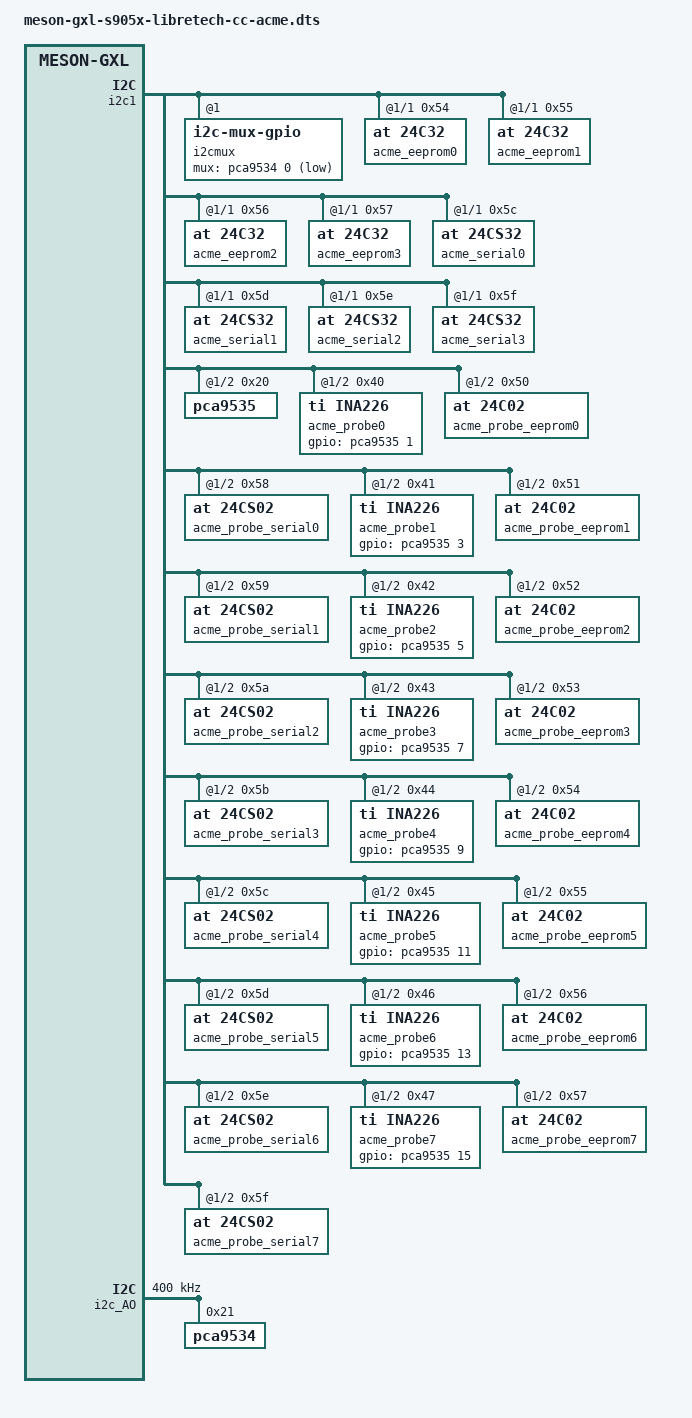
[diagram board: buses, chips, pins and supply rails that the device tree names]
/*
 * Copyright (c) 2017 BayLibre, SAS.
 * Author: Neil Armstrong <narmstrong@baylibre.com>
 *
 * SPDX-License-Identifier: (GPL-2.0+ OR MIT)
 */

/*
 * Overlay aimed to support the ACME cape.
 */

/dts-v1/;
/plugin/;

#include <dt-bindings/gpio/gpio.h>
#include <dt-bindings/gpio/meson-gxl-gpio.h>

/ {
	compatible = "libretech,cc", "amlogic,s905x", "amlogic,meson-gxl";

	fragment@0 {
		target-path = "/aliases";

		__overlay__ {
			i2c1 = "/soc/aobus@c8100000/i2c@500";
		};
	};

	fragment@1 {
		target = <&i2c_AO>;
		
		__overlay__ {
			status = "okay";
			pinctrl-0 = <&i2c_ao_pins>;
			pinctrl-names = "default";
			#address-cells = <1>;
			#size-cells = <0>;

			clock-frequency = <400000>;

			pca9534: pca9534@21 {
				compatible = "pca9534";
				reg = <0x21>;
				#gpio-cells = <2>;
			};
		};
	};

	fragment@2 {
		target-path="/";
	
		__overlay__ {
			i2cmux@1 {
				compatible = "i2c-mux-gpio";
				#address-cells = <1>;
				#size-cells = <0>;
				mux-gpios = <&pca9534 0 GPIO_ACTIVE_LOW>;
				i2c-parent = <&i2c1>;
				idle-state = <1>;
	
				i2c@1 {
					reg = <1>;
					#address-cells = <1>;
					#size-cells = <0>;
	
					acme_eeprom0: acme_eeprom0@54 {
						compatible = "at,24c32";
						reg = <0x54>;
						#address-cells = <1>;
						#size-cells = <1>;
					};
	
					acme_eeprom1: acme_eeprom1@55 {
						compatible = "at,24c32";
						reg = <0x55>;
						#address-cells = <1>;
						#size-cells = <1>;
					};
	
					acme_eeprom2: acme_eeprom2@56 {
						compatible = "at,24c32";
						reg = <0x56>;
						#address-cells = <1>;
						#size-cells = <1>;
					};
	
					acme_eeprom3: acme_eeprom3@57 {
						compatible = "at,24c32";
						reg = <0x57>;
						#address-cells = <1>;
						#size-cells = <1>;
					};
	
					acme_serial0: acme_serial0@5c {
						compatible = "at,24cs32";
						reg = <0x5c>;
						#address-cells = <1>;
						#size-cells = <1>;
					};
	
					acme_serial1: acme_serial1@5d {
						compatible = "at,24cs32";
						reg = <0x5d>;
						#address-cells = <1>;
						#size-cells = <1>;
					};
		
					acme_serial2: acme_serial2@5e {
						compatible = "at,24cs32";
						reg = <0x5e>;
						#address-cells = <1>;
						#size-cells = <1>;
					};
	
					acme_serial3: acme_serial3@5f {
						compatible = "at,24cs32";
						reg = <0x5f>;
						#address-cells = <1>;
						#size-cells = <1>;
					};
				};
		
				i2c@2 {
					reg = <2>;
					#address-cells = <1>;
					#size-cells = <0>;
		
					pca9535: pca9535@20 {
						compatible = "pca9535";
						reg = <0x20>;
						#gpio-cells = <2>;
					};
		
					acme_probe0: acme_probe0@40 {
						compatible = "ti,ina226";
						reg = <0x40>;
						gpio = <&pca9535 1 0>;
					};
		
					acme_probe_eeprom0: acme_probe_eeprom0@50 {
						compatible = "at,24c02";
						reg = <0x50>;
					};
		
					acme_probe_serial0: acme_probe_serial0@58 {
						compatible = "at,24cs02";
						reg = <0x58>;
					};
		
					acme_probe1: acme_probe1@41 {
						compatible = "ti,ina226";
						reg = <0x41>;
						gpio = <&pca9535 3 0>;
					};
		
					acme_probe_eeprom1: acme_probe_eeprom1@51 {
						compatible = "at,24c02";
						reg = <0x51>;
					};
		
					acme_probe_serial1: acme_probe_serial1@59 {
						compatible = "at,24cs02";
						reg = <0x59>;
					};
		
					acme_probe2: acme_probe2@42 {
						compatible = "ti,ina226";
						reg = <0x42>;
						gpio = <&pca9535 5 0>;
					};
		
					acme_probe_eeprom2: acme_probe_eeprom2@52 {
						compatible = "at,24c02";
						reg = <0x52>;
					};
		
					acme_probe_serial2: acme_probe_serial2@5a {
						compatible = "at,24cs02";
						reg = <0x5a>;
					};
		
					acme_probe3: acme_probe3@43 {
						compatible = "ti,ina226";
						reg = <0x43>;
						gpio = <&pca9535 7 0>;
					};
		
					acme_probe_eeprom3: acme_probe_eeprom3@53 {
						compatible = "at,24c02";
						reg = <0x53>;
					};
		
					acme_probe_serial3: acme_probe_serial3@5b {
						compatible = "at,24cs02";
						reg = <0x5b>;
					};
		
					acme_probe4: acme_probe4@44 {
						compatible = "ti,ina226";
						reg = <0x44>;
						gpio = <&pca9535 9 0>;
					};
		
					acme_probe_eeprom4: acme_probe_eeprom4@54 {
						compatible = "at,24c02";
						reg = <0x54>;
					};
		
					acme_probe_serial4: acme_probe_serial4@5c {
						compatible = "at,24cs02";
						reg = <0x5c>;
					};
		
					acme_probe5: acme_probe5@45 {
						compatible = "ti,ina226";
						reg = <0x45>;
						gpio = <&pca9535 11 0>;
					};
		
					acme_probe_eeprom5: acme_probe_eeprom5@55 {
						compatible = "at,24c02";
						reg = <0x55>;
					};
		
					acme_probe_serial5: acme_probe_serial5@5d {
						compatible = "at,24cs02";
						reg = <0x5d>;
					};
		
					acme_probe6: acme_probe6@46 {
						compatible = "ti,ina226";
						reg = <0x46>;
						gpio = <&pca9535 13 0>;
					};
		
					acme_probe_eeprom6: acme_probe_eeprom6@56 {
						compatible = "at,24c02";
						reg = <0x56>;
					};
		
					acme_probe_serial6: acme_probe_serial6@5e {
						compatible = "at,24cs02";
						reg = <0x5e>;
					};
		
					acme_probe7: acme_probe7@47 {
						compatible = "ti,ina226";
						reg = <0x47>;
						gpio = <&pca9535 15 0>;
					};
		
					acme_probe_eeprom7: acme_probe_eeprom7@57 {
						compatible = "at,24c02";
						reg = <0x57>;
					};
		
					acme_probe_serial7: acme_probe_serial7@5f {
						compatible = "at,24cs02";
						reg = <0x5f>;
					};
				};
			};
		};
	};
};
